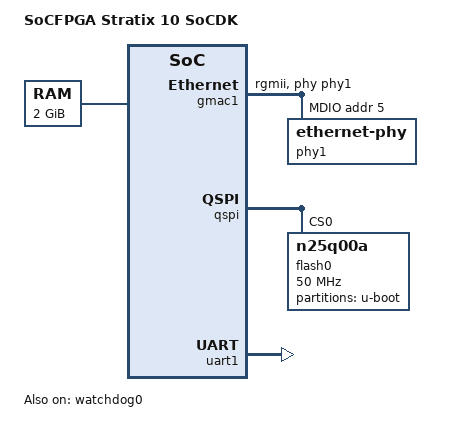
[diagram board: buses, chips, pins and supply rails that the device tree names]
// SPDX-License-Identifier: GPL-2.0
/*
 * Copyright (C) 2018-2022 Intel Corporation
 */

#include "socfpga_stratix10.dtsi"

/ {
	model = "SoCFPGA Stratix 10 SoCDK";

	aliases {
		ethernet1 = &gmac1;
		serial1 = &uart1;
	};

	memory {
		#address-cells = <1>;
		#size-cells = <1>;
		device_type = "memory";
		/* 2GB */
		reg = <0 0x00000000 0 0x80000000>;
		bootph-all;
	};
};

&gmac1 {
	status = "okay";
	phy-mode = "rgmii";
	phy-handle = <&phy1>;

	max-frame-size = <3800>;

	mdio {
		#address-cells = <1>;
		#size-cells = <0>;
		compatible = "snps,dwmac-mdio";
		// SOCFPGA_STRATIX10 # mii info 0x5
		//      PHY 0x05: OUI = 0x0885, Model = 0x22, Rev = 0x02, 1000baseT, FDX
		phy1: ethernet-phy@5 {
			max-speed = <100>;
			reg = <5>;
			rxd0-skew-ps = <480>;
			rxd1-skew-ps = <480>;
			rxd2-skew-ps = <480>;
			rxd3-skew-ps = <480>;
			rxdv-skew-ps = <480>;
			txd0-skew-ps = <360>;
			txd1-skew-ps = <360>;
			txd2-skew-ps = <360>;
			txd3-skew-ps = <360>;
			txen-skew-ps = <360>;
			rxc-skew-ps = <1680>;
			txc-skew-ps = <1800>;
		};
	};
};

&qspi {
	flash0: flash@0 {
		#address-cells = <1>;
		#size-cells = <1>;
		compatible = "n25q00a";
		reg = <0>;
		spi-max-frequency = <50000000>;

		m25p,fast-read;
		cdns,page-size = <256>;
		cdns,block-size = <16>;
		cdns,read-delay = <1>;
		cdns,tshsl-ns = <50>;
		cdns,tsd2d-ns = <50>;
		cdns,tchsh-ns = <4>;
		cdns,tslch-ns = <4>;

		partitions {
			compatible = "fixed-partitions";
			#address-cells = <1>;
			#size-cells = <1>;

			qspi_boot: partition@0 {
				// this must match CONFIG_ENV_UBI_PART
				label = "u-boot";
				reg = <0x0 0x04200000>;
			};
		};
	};
};

&uart1 {
	status = "okay";
	bootph-all;
	clock-frequency = <100000000>;
};

&watchdog0 {
	status = "okay";
};
